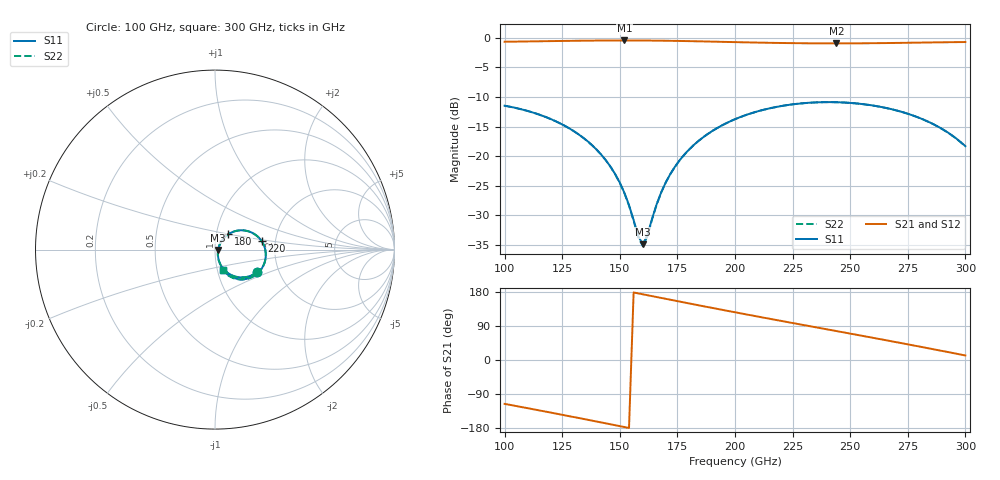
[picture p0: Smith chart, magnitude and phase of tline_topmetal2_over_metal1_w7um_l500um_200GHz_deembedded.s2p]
! Created with skrf 2.2.0 (http://scikit-rf.org).
# GHz S DB R 50.0
! Port[1] = P1
! Port[2] = P2
!freq dBS11 angS11 dBS21 angS21 dBS12 angS12 dBS22 angS22
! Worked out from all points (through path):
!   101 points, 100 GHz to 300 GHz, reference 50 ohm
!   highest |S21| = -0.44 dB at 152 GHz (marker M1); lowest = -0.9 dB at 244 GHz (marker M2)
!   group delay of S21, straight-line fit = 3.22 ps
!   lowest |S11| = -34.9 dB at 160 GHz (marker M3), VSWR 1.04, Z = 51.8 - j0.248 ohm
!   |S11| at or under -10 dB: start of sweep to end of sweep
!   |S22| runs from -35.2 to -10.9 dB; largest |S21 - S12| = 1.1e-14
!   S11 on the Smith chart (normalised r, x): 100 GHz: 1.55, -0.42; 180 GHz: 1.14, +0.20; 220 GHz: 1.70, +0.17; 300 GHz: 1.07, -0.24
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100  -11.48 -27.8  -0.66 -115.7  -0.66 -115.7  -11.48 -28.0
118  -13.41 -46.5  -0.57 -136.4  -0.57 -136.4  -13.41 -46.7
134  -16.86 -62.1  -0.48 -155.3  -0.48 -155.3  -16.86 -62.4
144  -20.73 -69.4  -0.45 -167.3  -0.45 -167.3  -20.74 -69.9
148  -23.05 -70.5  -0.45 -172.1  -0.45 -172.1  -23.07 -71.1
152  -26.22 -68.3  -0.44 -176.9  -0.44 -176.9  -26.26 -69.2
158  -33.52 -38.5  -0.45 175.8  -0.45 175.8  -33.75 -39.5
160  -34.92 -7.7  -0.45 173.4  -0.45 173.4  -35.23 -7.7
162  -33.33 22.3  -0.46 171.0  -0.46 171.0  -33.53 23.1
166  -28.13 46.8  -0.47 166.2  -0.47 166.2  -28.19 47.5
168  -26.09 50.5  -0.48 163.7  -0.48 163.7  -26.13 51.0
174  -21.75 52.2  -0.52 156.5  -0.52 156.5  -21.77 52.4
180  -18.91 49.0  -0.56 149.4  -0.56 149.4  -18.92 49.1
190  -15.78 40.5  -0.64 137.6  -0.64 137.6  -15.79 40.4
200  -13.76 30.6  -0.73 126.0  -0.73 126.0  -13.76 30.5
220  -11.54 10.0  -0.87 103.2  -0.87 103.2  -11.54 9.8
234  -10.94 -4.5  -0.93 87.5  -0.93 87.5  -10.94 -4.8
244  -10.89 -14.9  -0.94 76.4  -0.94 76.4  -10.89 -15.2
256  -11.23 -27.2  -0.92 62.9  -0.92 62.9  -11.24 -27.6
268  -12.07 -39.4  -0.87 49.3  -0.87 49.3  -12.08 -40.0
286  -14.58 -57.1  -0.78 28.5  -0.78 28.5  -14.59 -57.9
300  -18.33 -68.3  -0.71 11.9  -0.71 11.9  -18.36 -69.5
